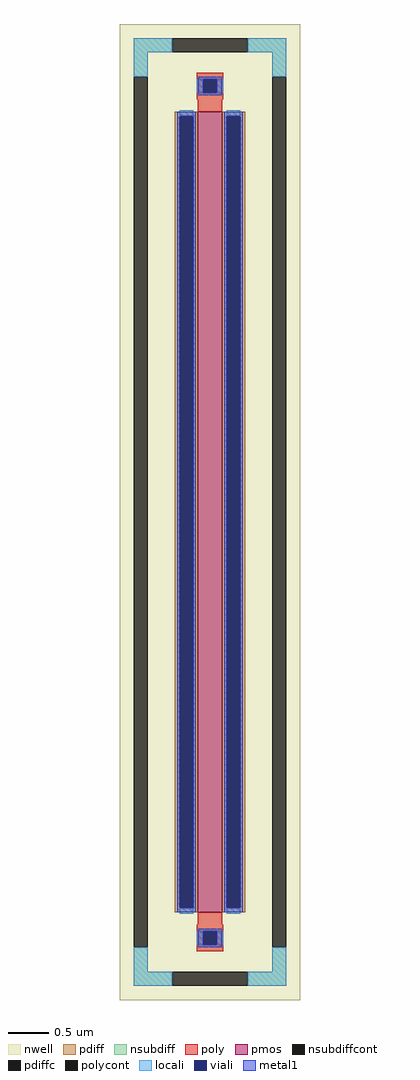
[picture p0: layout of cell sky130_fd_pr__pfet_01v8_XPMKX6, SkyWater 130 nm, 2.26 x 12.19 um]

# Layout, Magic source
magic
tech sky130A
magscale 1 2
<< nwell >>
rect -226 -1219 226 1219
<< pmos >>
rect -30 -1000 30 1000
<< pdiff >>
rect -88 988 -30 1000
rect -88 -988 -76 988
rect -42 -988 -30 988
rect -88 -1000 -30 -988
rect 30 988 88 1000
rect 30 -988 42 988
rect 76 -988 88 988
rect 30 -1000 88 -988
<< pdiffc >>
rect -76 -988 -42 988
rect 42 -988 76 988
<< nsubdiff >>
rect -190 1149 -94 1183
rect 94 1149 190 1183
rect -190 1087 -156 1149
rect 156 1087 190 1149
rect -190 -1149 -156 -1087
rect 156 -1149 190 -1087
rect -190 -1183 -94 -1149
rect 94 -1183 190 -1149
<< nsubdiffcont >>
rect -94 1149 94 1183
rect -190 -1087 -156 1087
rect 156 -1087 190 1087
rect -94 -1183 94 -1149
<< poly >>
rect -33 1081 33 1097
rect -33 1047 -17 1081
rect 17 1047 33 1081
rect -33 1031 33 1047
rect -30 1000 30 1031
rect -30 -1031 30 -1000
rect -33 -1047 33 -1031
rect -33 -1081 -17 -1047
rect 17 -1081 33 -1047
rect -33 -1097 33 -1081
<< polycont >>
rect -17 1047 17 1081
rect -17 -1081 17 -1047
<< locali >>
rect -190 1149 -94 1183
rect 94 1149 190 1183
rect -190 1087 -156 1149
rect 156 1087 190 1149
rect -33 1047 -17 1081
rect 17 1047 33 1081
rect -76 988 -42 1004
rect -76 -1004 -42 -988
rect 42 988 76 1004
rect 42 -1004 76 -988
rect -33 -1081 -17 -1047
rect 17 -1081 33 -1047
rect -190 -1149 -156 -1087
rect 156 -1149 190 -1087
rect -190 -1183 -94 -1149
rect 94 -1183 190 -1149
<< viali >>
rect -17 1047 17 1081
rect -76 -988 -42 988
rect 42 -988 76 988
rect -17 -1081 17 -1047
<< metal1 >>
rect -29 1081 29 1087
rect -29 1047 -17 1081
rect 17 1047 29 1081
rect -29 1041 29 1047
rect -82 988 -36 1000
rect -82 -988 -76 988
rect -42 -988 -36 988
rect -82 -1000 -36 -988
rect 36 988 82 1000
rect 36 -988 42 988
rect 76 -988 82 988
rect 36 -1000 82 -988
rect -29 -1047 29 -1041
rect -29 -1081 -17 -1047
rect 17 -1081 29 -1047
rect -29 -1087 29 -1081
<< properties >>
string FIXED_BBOX -173 -1166 173 1166
string gencell sky130_fd_pr__pfet_01v8
string library sky130
string parameters w 10.0 l 0.3 m 1 nf 1 diffcov 100 polycov 100 guard 1 glc 1 grc 1 gtc 1 gbc 1 tbcov 100 rlcov 100 topc 1 botc 1 poverlap 0 doverlap 1 lmin 0.15 wmin 0.42 compatible {sky130_fd_pr__pfet_01v8  sky130_fd_pr__pfet_01v8_lvt sky130_fd_pr__pfet_01v8_hvt  sky130_fd_pr__pfet_g5v0d10v5} full_metal 1 viasrc 100 viadrn 100 viagate 100 viagb 0 viagr 0 viagl 0 viagt 0
<< end >>
